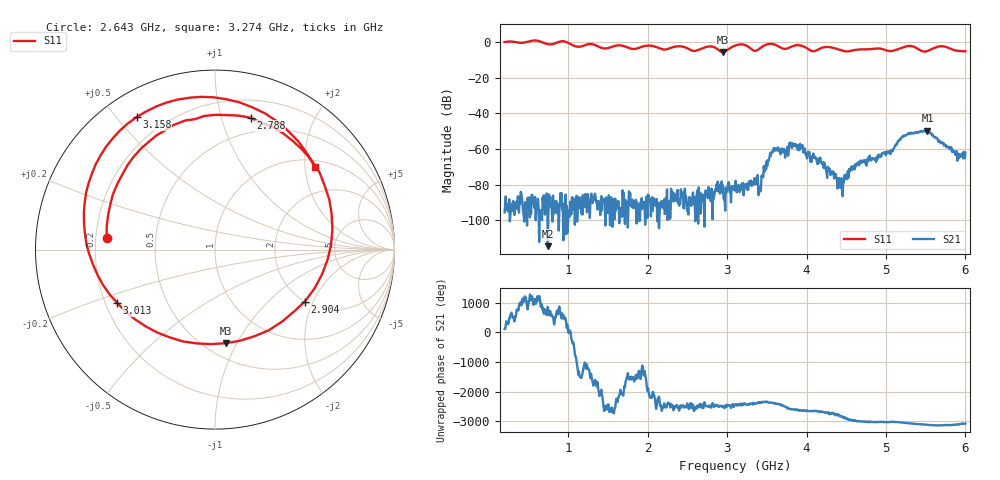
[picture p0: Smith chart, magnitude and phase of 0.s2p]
! NanoVNA-App
! Date: 2024-06-25 16:14:07
! Start: 200MHz Stop: 6GHz Points: 801
! S-Parameter data: F S11 S21 S12 S22
# Hz S RI R 50
!  Frequency  S11_Real  S11_Imag  S21_Real  S21_Imag  S12_Real  S12_Imag  S22_Real  S22_Imag
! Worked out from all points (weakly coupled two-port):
!   801 points, 200 MHz to 6 GHz, reference 50 ohm
!   highest |S21| = -49.69 dB at 5.521 GHz (marker M1); lowest = -114.4 dB at 743.8 MHz (marker M2)
!   lowest |S11| = -5.6 dB at 2.948 GHz (marker M3), VSWR 3.21, Z = 31.3 - j45.1 ohm
!   |S11| at or under -10 dB: nowhere
!   S12 and S22 are empty: the file has one direction only
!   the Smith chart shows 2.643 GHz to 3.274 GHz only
!   S11 on the Smith chart (normalised r, x): 2.643 GHz: 0.24, +0.05; 2.788 GHz: 0.36, +1.24; 2.904 GHz: 2.00, -1.74; 3.013 GHz: 0.25, -0.24; 3.158 GHz: 0.10, +0.57; 3.274 GHz: 1.17, +2.25
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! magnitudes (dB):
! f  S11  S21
! 200 MHz  0.0  -95.5
! 743.8 MHz  -1.2  -114.4
! 1.171 GHz  -2.3  -86.8
! 2.136 GHz  -3.3  -90.2
! 2.643 GHz  -4.3  -81.5
! 2.788 GHz  -2.4  -86.9
! 2.904 GHz  -4.8  -84.1
! 2.948 GHz  -5.6  -80.4
! 3.013 GHz  -4.1  -79.7
! 3.1 GHz  -2.0  -80.4
! 3.158 GHz  -1.3  -84.2
! 3.274 GHz  -2.8  -78.2
! 3.426 GHz  -3.1  -83.3
! 3.615 GHz  -1.6  -59.8
! 3.854 GHz  -1.9  -57.8
! 4.072 GHz  -5.1  -64.2
! 4.434 GHz  -4.5  -77.9
! 4.666 GHz  -4.1  -67.0
! 5.036 GHz  -5.0  -62.3
! 5.231 GHz  -2.7  -52.7
! 5.521 GHz  -5.0  -49.7
! 6 GHz  -5.2  -62.0
